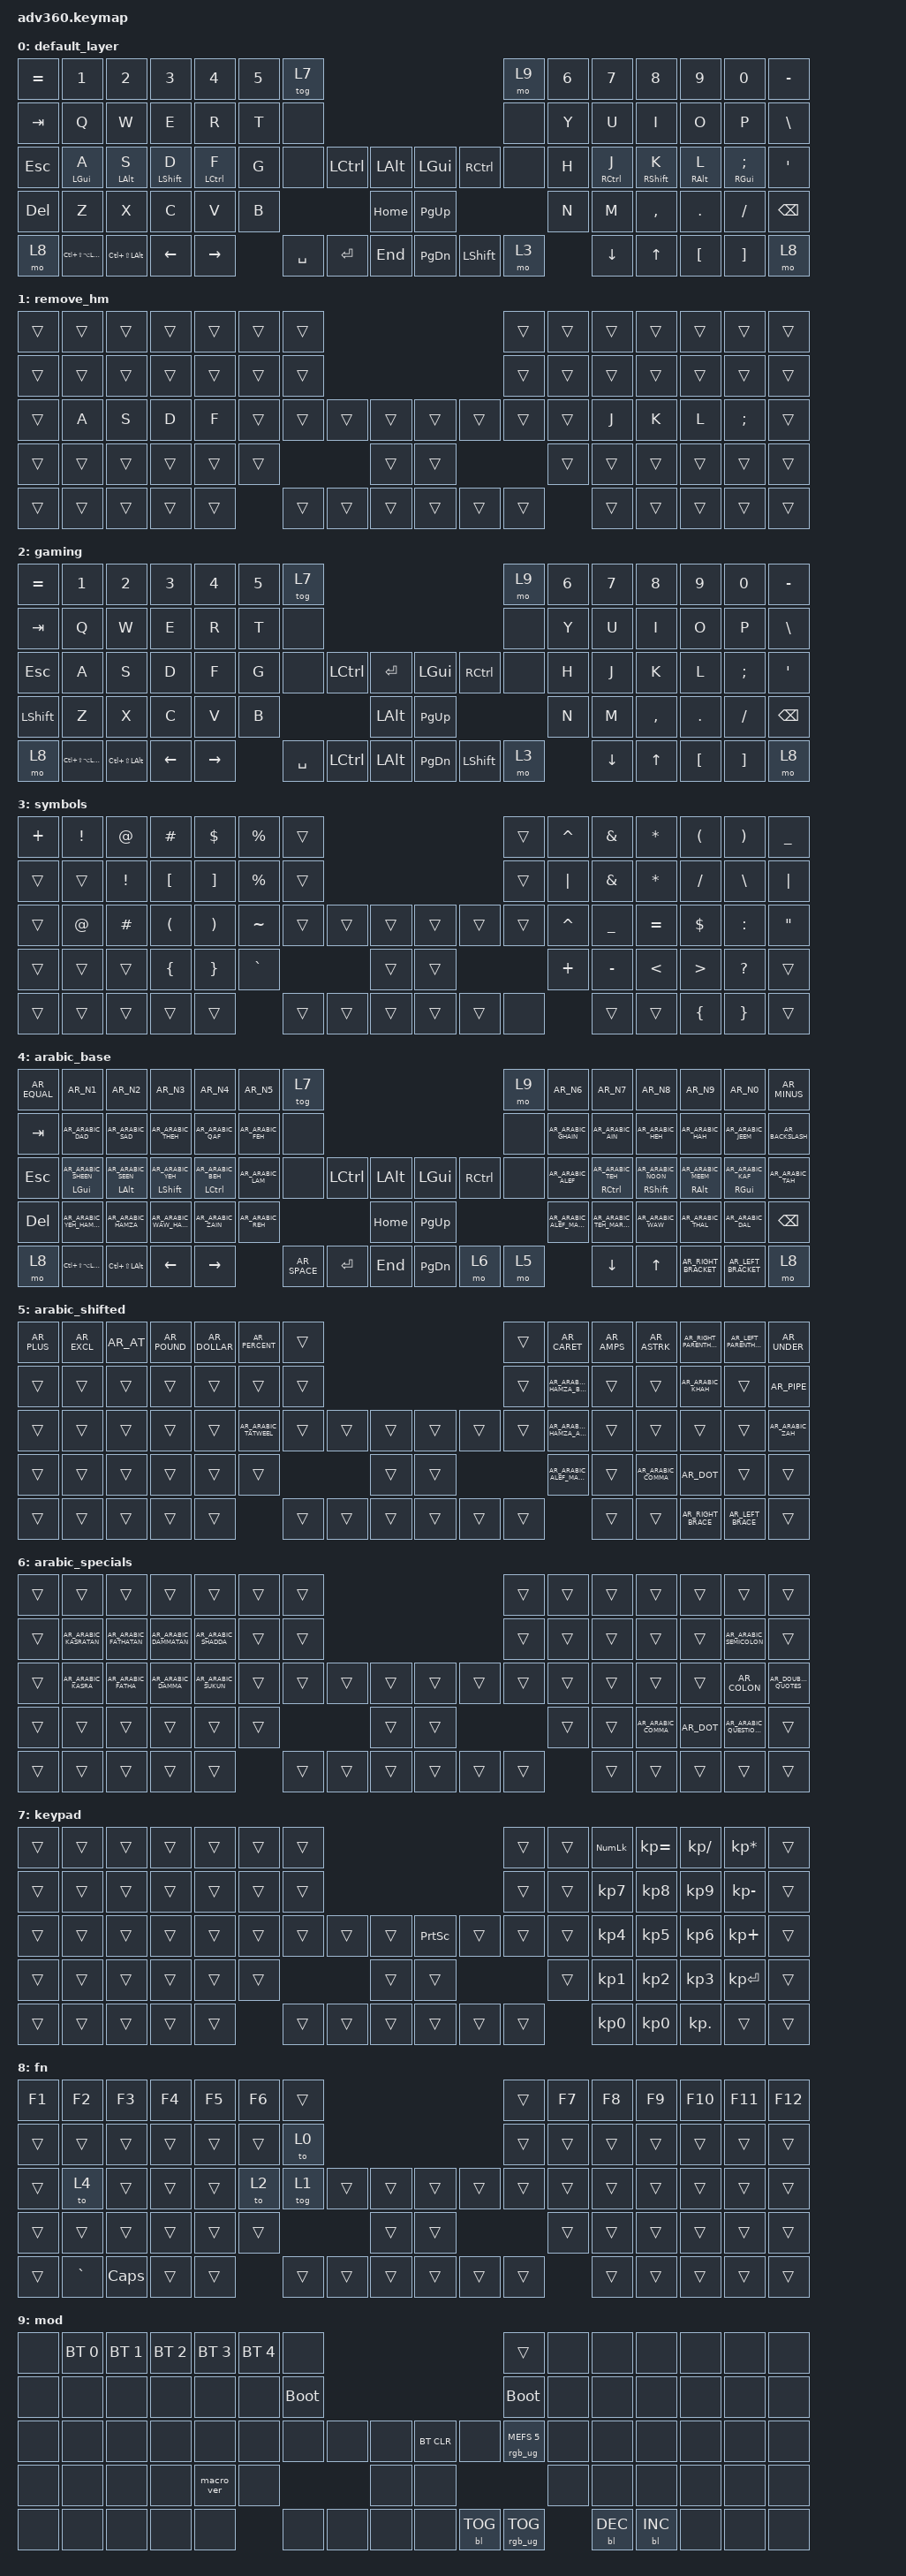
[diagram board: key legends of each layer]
#include "keys_ar.h"
#include <behaviors.dtsi>
#include <dt-bindings/zmk/backlight.h>
#include <dt-bindings/zmk/bt.h>
#include <dt-bindings/zmk/keys.h>
#include <dt-bindings/zmk/rgb.h>

#define HYPER LC(LS(LA(LGUI)))
#define MEH LC(LS(LALT))

&lt { flavor = "hold-preferred"; };

/ {
    behaviors {
        hml: hml {
            compatible = "zmk,behavior-hold-tap";
            label = "HML";
            bindings = <&kp>, <&kp>;

            #binding-cells = <2>;
            tapping-term-ms = <280>;
            quick-tap-ms = <175>;
            require-prior-idle-ms = <150>;
            flavor = "balanced";
            hold-trigger-on-release;
            hold-trigger-key-positions = <7 8 9 10 11 12 21 22 23 24 25 26 27 38 39 40 41 42 43 44 45 54 55 56 57 58 59 69 70 71 72 73 74 75 13 35 36 37 38 52 53 66 67 68 69 70 65>;
        };

        hmr: hmr {
            compatible = "zmk,behavior-hold-tap";
            label = "HMR";
            bindings = <&kp>, <&kp>;

            #binding-cells = <2>;
            tapping-term-ms = <280>;
            quick-tap-ms = <175>;
            require-prior-idle-ms = <150>;
            flavor = "balanced";
            hold-trigger-on-release;
            hold-trigger-key-positions = <0 1 14 15 16 17 18 19 20 28 29 30 31 32 33 34 35 36 46 47 48 49 50 51 52 60 61 62 63 64 65 66 67 2 3 4 5 6 37 38 53 68 69 70>;
        };
    };

    macros {
        #include "macros.dtsi"
        #include "version.dtsi"
    };

    keymap {
        compatible = "zmk,keymap";

        default_layer {
            bindings = <
&kp EQUAL   &kp N1           &kp N2           &kp N3             &kp N4               &kp N5  &tog 7                                                         &mo 9  &kp N6  &kp N7        &kp N8              &kp N9            &kp N0                    &kp MINUS
&kp TAB     &kp Q            &kp W            &kp E              &kp R                &kp T   &none                                                          &none  &kp Y   &kp U         &kp I               &kp O             &kp P                     &kp BSLH
&kp ESC     &hml LEFT_GUI A  &hml LEFT_ALT S  &hml LEFT_SHIFT D  &hml LEFT_CONTROL F  &kp G   &none      &kp LCTRL  &kp LALT      &kp LGUI   &kp RCTRL       &none  &kp H   &hmr RCTRL J  &hmr RIGHT_SHIFT K  &hmr RIGHT_ALT L  &hmr RIGHT_GUI SEMICOLON  &kp SQT
&kp DELETE  &kp Z            &kp X            &kp C              &kp V                &kp B                         &kp HOME      &kp PG_UP                         &kp N   &kp M         &kp COMMA           &kp DOT           &kp FSLH                  &kp BACKSPACE
&mo 8       &kp HYPER        &kp MEH          &kp LEFT           &kp RIGHT                    &kp SPACE  &kp ENTER  &kp END       &kp PG_DN  &kp LEFT_SHIFT  &mo 3          &kp DOWN      &kp UP              &kp LBKT          &kp RBKT                  &mo 8
            >;
        };

        remove_hm {
            bindings = <
&trans  &trans  &trans  &trans  &trans  &trans  &trans                                      &trans  &trans  &trans  &trans  &trans  &trans         &trans
&trans  &trans  &trans  &trans  &trans  &trans  &trans                                      &trans  &trans  &trans  &trans  &trans  &trans         &trans
&trans  &kp A   &kp S   &kp D   &kp F   &trans  &trans  &trans  &trans      &trans  &trans  &trans  &trans  &kp J   &kp K   &kp L   &kp SEMICOLON  &trans
&trans  &trans  &trans  &trans  &trans  &trans                  &trans      &trans                  &trans  &trans  &trans  &trans  &trans         &trans
&trans  &trans  &trans  &trans  &trans          &trans  &trans  &trans      &trans  &trans  &trans          &trans  &trans  &trans  &trans         &trans
            >;
        };

        gaming {
            bindings = <
&kp EQUAL  &kp N1     &kp N2   &kp N3    &kp N4     &kp N5  &tog 7                                                             &mo 9  &kp N6  &kp N7    &kp N8     &kp N9    &kp N0         &kp MINUS
&kp TAB    &kp Q      &kp W    &kp E     &kp R      &kp T   &none                                                              &none  &kp Y   &kp U     &kp I      &kp O     &kp P          &kp BSLH
&kp ESC    &kp A      &kp S    &kp D     &kp F      &kp G   &none      &kp LCTRL  &kp ENTER         &kp LGUI   &kp RCTRL       &none  &kp H   &kp J     &kp K      &kp L     &kp SEMICOLON  &kp SQT
&kp LSHFT  &kp Z      &kp X    &kp C     &kp V      &kp B                         &kp LEFT_ALT      &kp PG_UP                         &kp N   &kp M     &kp COMMA  &kp DOT   &kp FSLH       &kp BACKSPACE
&mo 8      &kp HYPER  &kp MEH  &kp LEFT  &kp RIGHT          &kp SPACE  &kp LCTRL  &kp LALT          &kp PG_DN  &kp LEFT_SHIFT  &mo 3          &kp DOWN  &kp UP     &kp LBKT  &kp RBKT       &mo 8
            >;
        };

        symbols {
            bindings = <
&kp PLUS  &kp EXCLAMATION  &kp AT_SIGN      &kp POUND             &kp DOLLAR             &kp PERCENT  &trans                                      &trans  &kp CARET  &kp AMPERSAND   &kp ASTERISK   &kp LEFT_PARENTHESIS  &kp RIGHT_PARENTHESIS  &kp UNDERSCORE
&trans    &trans           &kp EXCLAMATION  &kp LEFT_BRACKET      &kp RIGHT_BRACKET      &kp PERCENT  &trans                                      &trans  &kp PIPE   &kp AMPERSAND   &kp ASTERISK   &kp SLASH             &kp BACKSLASH          &kp PIPE
&trans    &kp AT           &kp HASH         &kp LEFT_PARENTHESIS  &kp RIGHT_PARENTHESIS  &kp TILDE    &trans  &trans  &trans      &trans  &trans  &trans  &kp CARET  &kp UNDERSCORE  &kp EQUAL      &kp DOLLAR            &kp COLON              &kp DOUBLE_QUOTES
&trans    &trans           &trans           &kp LEFT_BRACE        &kp RIGHT_BRACE        &kp GRAVE                    &trans      &trans                  &kp PLUS   &kp MINUS       &kp LESS_THAN  &kp GREATER_THAN      &kp QUESTION           &trans
&trans    &trans           &trans           &trans                &trans                              &trans  &trans  &trans      &trans  &trans  &none              &trans          &trans         &kp LEFT_BRACE        &kp RIGHT_BRACE        &trans
            >;
        };

        arabic_base {
            bindings = <
&kp AR_EQUAL  &kp AR_N1                      &kp AR_N2                     &kp AR_N3                      &kp AR_N4                        &kp AR_N5          &tog 7                                                       &mo 9  &kp AR_N6                   &kp AR_N7                  &kp AR_N8                        &kp AR_N9                      &kp AR_N0                     &kp AR_MINUS
&kp TAB       &kp AR_ARABIC_DAD              &kp AR_ARABIC_SAD             &kp AR_ARABIC_THEH             &kp AR_ARABIC_QAF                &kp AR_ARABIC_FEH  &none                                                        &none  &kp AR_ARABIC_GHAIN         &kp AR_ARABIC_AIN          &kp AR_ARABIC_HEH                &kp AR_ARABIC_HAH              &kp AR_ARABIC_JEEM            &kp AR_BACKSLASH
&kp ESC       &hml LEFT_GUI AR_ARABIC_SHEEN  &hml LEFT_ALT AR_ARABIC_SEEN  &hml LEFT_SHIFT AR_ARABIC_YEH  &hml LEFT_CONTROL AR_ARABIC_BEH  &kp AR_ARABIC_LAM  &none         &kp LCTRL  &kp LALT      &kp LGUI   &kp RCTRL  &none  &kp AR_ARABIC_ALEF          &hmr RCTRL AR_ARABIC_TEH   &hmr RIGHT_SHIFT AR_ARABIC_NOON  &hmr RIGHT_ALT AR_ARABIC_MEEM  &hmr RIGHT_GUI AR_ARABIC_KAF  &kp AR_ARABIC_TAH
&kp DELETE    &kp AR_ARABIC_YEH_HAMZA        &kp AR_ARABIC_HAMZA           &kp AR_ARABIC_WAW_HAMZA        &kp AR_ARABIC_ZAIN               &kp AR_ARABIC_REH                           &kp HOME      &kp PG_UP                    &kp AR_ARABIC_ALEF_MAKSURA  &kp AR_ARABIC_TEH_MARBUTA  &kp AR_ARABIC_WAW                &kp AR_ARABIC_THAL             &kp AR_ARABIC_DAL             &kp BACKSPACE
&mo 8         &kp HYPER                      &kp MEH                       &kp LEFT                       &kp RIGHT                                           &kp AR_SPACE  &kp ENTER  &kp END       &kp PG_DN  &mo 6      &mo 5                              &kp DOWN                   &kp UP                           &kp AR_RIGHT_BRACKET           &kp AR_LEFT_BRACKET           &mo 8
            >;
        };

        arabic_shifted {
            bindings = <
&kp AR_PLUS  &kp AR_EXCL  &kp AR_AT  &kp AR_POUND  &kp AR_DOLLAR  &kp AR_PERCENT         &trans                                      &trans  &kp AR_CARET                    &kp AR_AMPS  &kp AR_ASTRK         &kp AR_RIGHT_PARENTHESIS  &kp AR_LEFT_PARENTHESIS  &kp AR_UNDER
&trans       &trans       &trans     &trans        &trans         &trans                 &trans                                      &trans  &kp AR_ARABIC_ALEF_HAMZA_BELOW  &trans       &trans               &kp AR_ARABIC_KHAH        &trans                   &kp AR_PIPE
&trans       &trans       &trans     &trans        &trans         &kp AR_ARABIC_TATWEEL  &trans  &trans  &trans      &trans  &trans  &trans  &kp AR_ARABIC_ALEF_HAMZA_ABOVE  &trans       &trans               &trans                    &trans                   &kp AR_ARABIC_ZAH
&trans       &trans       &trans     &trans        &trans         &trans                                 &trans      &trans                  &kp AR_ARABIC_ALEF_MADDA        &trans       &kp AR_ARABIC_COMMA  &kp AR_DOT                &trans                   &trans
&trans       &trans       &trans     &trans        &trans                                &trans  &trans  &trans      &trans  &trans  &trans                                  &trans       &trans               &kp AR_RIGHT_BRACE        &kp AR_LEFT_BRACE        &trans
            >;
        };

        arabic_specials {
            bindings = <
&trans  &trans                  &trans                  &trans                  &trans                &trans  &trans                                      &trans  &trans  &trans  &trans               &trans      &trans                       &trans
&trans  &kp AR_ARABIC_KASRATAN  &kp AR_ARABIC_FATHATAN  &kp AR_ARABIC_DAMMATAN  &kp AR_ARABIC_SHADDA  &trans  &trans                                      &trans  &trans  &trans  &trans               &trans      &kp AR_ARABIC_SEMICOLON      &trans
&trans  &kp AR_ARABIC_KASRA     &kp AR_ARABIC_FATHA     &kp AR_ARABIC_DAMMA     &kp AR_ARABIC_SUKUN   &trans  &trans  &trans  &trans      &trans  &trans  &trans  &trans  &trans  &trans               &trans      &kp AR_COLON                 &kp AR_DOUBLE_QUOTES
&trans  &trans                  &trans                  &trans                  &trans                &trans                  &trans      &trans                  &trans  &trans  &kp AR_ARABIC_COMMA  &kp AR_DOT  &kp AR_ARABIC_QUESTION_MARK  &trans
&trans  &trans                  &trans                  &trans                  &trans                        &trans  &trans  &trans      &trans  &trans  &trans          &trans  &trans               &trans      &trans                       &trans
            >;
        };

        keypad {
            bindings = <
&trans  &trans  &trans  &trans  &trans  &trans  &trans                                               &trans  &trans  &kp KP_NUM  &kp KP_EQUAL  &kp KP_DIVIDE  &kp KP_MULTIPLY  &trans
&trans  &trans  &trans  &trans  &trans  &trans  &trans                                               &trans  &trans  &kp KP_N7   &kp KP_N8     &kp KP_N9      &kp KP_MINUS     &trans
&trans  &trans  &trans  &trans  &trans  &trans  &trans  &trans  &trans      &kp PRINTSCREEN  &trans  &trans  &trans  &kp KP_N4   &kp KP_N5     &kp KP_N6      &kp KP_PLUS      &trans
&trans  &trans  &trans  &trans  &trans  &trans                  &trans      &trans                           &trans  &kp KP_N1   &kp KP_N2     &kp KP_N3      &kp KP_ENTER     &trans
&trans  &trans  &trans  &trans  &trans          &trans  &trans  &trans      &trans           &trans  &trans          &kp KP_N0   &kp KP_N0     &kp KP_DOT     &trans           &trans
            >;
        };

        fn {
            bindings = <
&kp F1  &kp F2     &kp F3    &kp F4  &kp F5  &kp F6  &trans                                      &trans  &kp F7  &kp F8  &kp F9  &kp F10  &kp F11  &kp F12
&trans  &trans     &trans    &trans  &trans  &trans  &to 0                                       &trans  &trans  &trans  &trans  &trans   &trans   &trans
&trans  &to 4      &trans    &trans  &trans  &to 2   &tog 1  &trans  &trans      &trans  &trans  &trans  &trans  &trans  &trans  &trans   &trans   &trans
&trans  &trans     &trans    &trans  &trans  &trans                  &trans      &trans                  &trans  &trans  &trans  &trans   &trans   &trans
&trans  &kp GRAVE  &kp CAPS  &trans  &trans          &trans  &trans  &trans      &trans  &trans  &trans          &trans  &trans  &trans   &trans   &trans
            >;
        };

        mod {
            bindings = <
&none  &bt BT_SEL 0  &bt BT_SEL 1  &bt BT_SEL 2  &bt BT_SEL 3  &bt BT_SEL 4  &none                                                  &trans                  &none  &none       &none       &none  &none  &none
&none  &none         &none         &none         &none         &none         &bootloader                                            &bootloader             &none  &none       &none       &none  &none  &none
&none  &none         &none         &none         &none         &none         &none        &none  &none      &bt BT_CLR  &none       &rgb_ug RGB_MEFS_CMD 5  &none  &none       &none       &none  &none  &none
&none  &none         &none         &none         &macro_ver    &none                             &none      &none                                           &none  &none       &none       &none  &none  &none
&none  &none         &none         &none         &none                       &none        &none  &none      &none       &bl BL_TOG  &rgb_ug RGB_TOG                &bl BL_DEC  &bl BL_INC  &none  &none  &none
            >;
        };
    };
};
